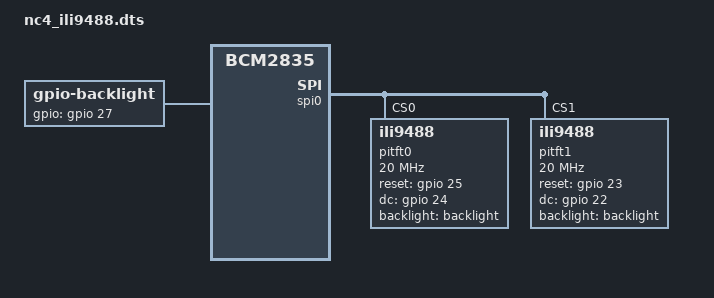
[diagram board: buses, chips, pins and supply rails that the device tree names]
/********************************************************************************
 * nc4_ili9488.dts
 * 
 * Device Tree Overlay for two ILI9488 panels on Raspberry Pi's SPI0 bus.
 * - Disables spidev0 (CS0) and spidev1 (CS1).
 * - Creates two SPI child nodes: pitft0@0 (CE0) and pitft1@1 (CE1).
 * - Each panel has its own Reset and DC lines.
 * - Shared backlight on GPIO27.
 *
 * Compatible usage:
 *   dtoverlay=nc4_ili9488
 ********************************************************************************/
 /dts-v1/;
/plugin/;

/ {
	compatible = "brcm,bcm2835";

	/****************************************************************************
	 * Enable SPI0 hardware
	 ****************************************************************************/
	fragment@0 {
		target = <&spi0>;
		__overlay__ {
			status = "okay";
		};
	};

	/****************************************************************************
	 * Disable spidev0
	 ****************************************************************************/
	fragment@1 {
		target = <&spidev0>;
		__overlay__ {
			status = "disabled";
		};
	};

	/****************************************************************************
	 * Disable spidev1
	 ****************************************************************************/
	fragment@2 {
		target = <&spidev1>;
		__overlay__ {
			status = "disabled";
		};
	};

	/****************************************************************************
	 * GPIO pins for the LCD_0 panel (pitft0)
	 *   GPIO24 = DC (out)
	 *   GPIO25 = RESET (out)
	 *   GPIO27 = Backlight (out, shared)
	 ****************************************************************************/
	fragment@3 {
		target = <&gpio>;
		__overlay__ {
			pitft0_pins: pitft0_pins {
				brcm,pins = <24 25>;
				brcm,function = <1 1>; /* Set as output */
			};
		};
	};

	/****************************************************************************
	 * GPIO pins for the LCD_1 panel (pitft1)
	 *   GPIO22 = DC (out)
	 *   GPIO23 = RESET (out)
	 *   GPIO27 = Backlight (out, shared)
	 ****************************************************************************/
	fragment@4 {
		target = <&gpio>;
		__overlay__ {
			pitft1_pins: pitft1_pins {
				brcm,pins = <22 23>;
				brcm,function = <1 1>; /* Set as output */
			};
		};
	};

	/****************************************************************************
	 * LCD_0 ILI9488 device node on SPI0 CE0
	 ****************************************************************************/
	fragment@5 {
		target = <&spi0>;
		__overlay__ {
			#address-cells = <1>;
			#size-cells = <0>;

			pitft0: pitft0@0 {
				compatible = "ili9488"; /* Reusing the original compatible */
				pinctrl-names = "default";
				pinctrl-0 = <&pitft0_pins>;

				reg = <0>; /* CE0 line */
				spi-max-frequency = <20000000>;

				rotation = <0>;
				reset-gpios = <&gpio 25 0>;
				dc-gpios = <&gpio 24 0>;
				backlight = <&backlight>;
			};
		};
	};

	/****************************************************************************
	 * LCD_1 ILI9488 device node on SPI0 CE1
	 ****************************************************************************/
	fragment@6 {
		target = <&spi0>;
		__overlay__ {
			pitft1: pitft1@1 {
				compatible = "ili9488"; /* Same panel type, different CS */
				pinctrl-names = "default";
				pinctrl-0 = <&pitft1_pins>;

				reg = <1>; /* CE1 line */
				spi-max-frequency = <20000000>;

				rotation = <0>;
				reset-gpios = <&gpio 23 0>;
				dc-gpios = <&gpio 22 0>;
				backlight = <&backlight>;
			};
		};
	};

	/****************************************************************************
	 * Shared backlight control for both panels
	 ****************************************************************************/
	fragment@7 {
		target-path = "/soc";
		__overlay__ {
			backlight: backlight {
				compatible = "gpio-backlight";
				gpios = <&gpio 27 0>;
			};
		};
	};

	/****************************************************************************
	 * Overridable parameters for speed and rotation
	 ****************************************************************************/
	__overrides__ {
		speed = <&pitft0>,"spi-max-frequency:0", <&pitft1>,"spi-max-frequency:0";
		rotation = <&pitft0>,"rotation:0", <&pitft1>,"rotation:0";
	};
};
